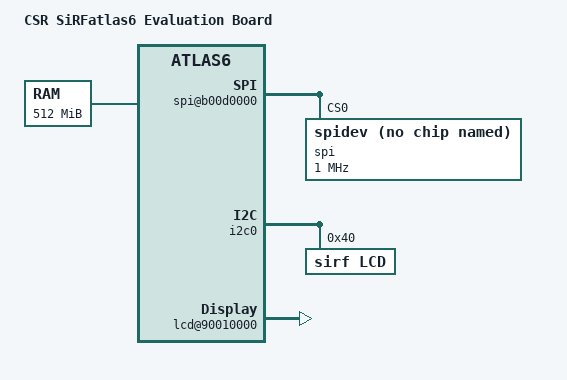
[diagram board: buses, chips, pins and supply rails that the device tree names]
/*
 * DTS file for CSR SiRFatlas6 Evaluation Board
 *
 * Copyright (c) 2012 Cambridge Silicon Radio Limited, a CSR plc group company.
 *
 * Licensed under GPLv2 or later.
 */

/dts-v1/;

/include/ "atlas6.dtsi"

/ {
	model = "CSR SiRFatlas6 Evaluation Board";
	compatible = "sirf,atlas6-cb", "sirf,atlas6";

	memory {
		device_type = "memory";
		reg = <0x00000000 0x20000000>;
	};

	axi {
		peri-iobg {
			uart@b0060000 {
				pinctrl-names = "default";
				pinctrl-0 = <&uart1_pins_a>;
			};
			spi@b00d0000 {
				status = "okay";
				pinctrl-names = "default";
				pinctrl-0 = <&spi0_pins_a>;
				spi@0 {
					compatible = "spidev";
					reg = <0>;
					spi-max-frequency = <1000000>;
				};
			};
			spi@b0170000 {
				pinctrl-names = "default";
				pinctrl-0 = <&spi1_pins_a>;
			};
			i2c0: i2c@b00e0000 {
				status = "okay";
				pinctrl-names = "default";
				pinctrl-0 = <&i2c0_pins_a>;
				lcd@40 {
					compatible = "sirf,lcd";
					reg = <0x40>;
				};
			};

		};
		disp-iobg {
			lcd@90010000 {
				status = "okay";
				pinctrl-names = "default";
				pinctrl-0 = <&lcd_24pins_a>;
			};
		};
	};
	display: display@0 {
	    panels {
		panel0: panel@0 {
			panel-name = "Innolux TFT";
			hactive = <800>;
			vactive = <480>;
			left_margin = <20>;
			right_margin = <234>;
			upper_margin = <3>;
			lower_margin = <41>;
			hsync_len = <3>;
			vsync_len = <2>;
			pixclock = <33264000>;
			sync = <3>;
			timing = <0x88>;
			};
	    };
	};
};
